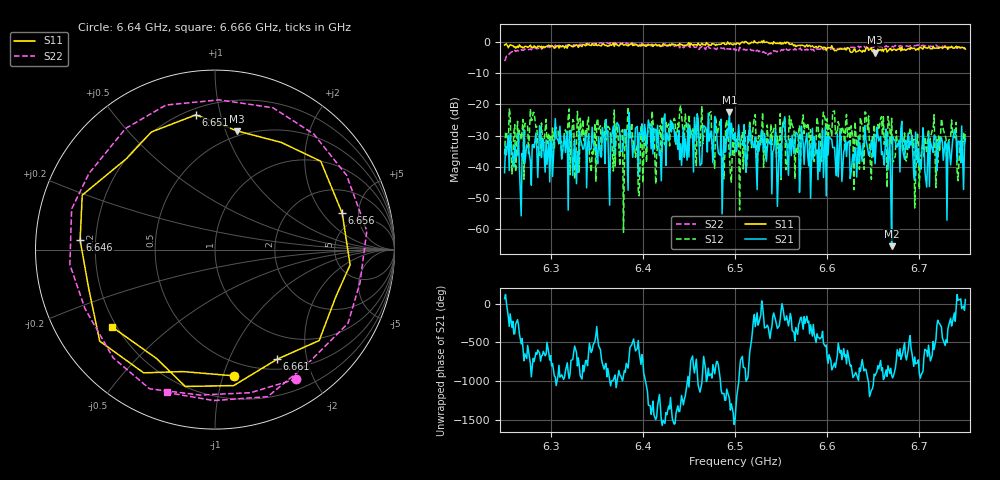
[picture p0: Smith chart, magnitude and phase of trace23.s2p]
# Hz S RI R 50
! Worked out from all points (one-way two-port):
!   401 points, 6.25 GHz to 6.75 GHz, reference 50 ohm
!   highest |S21| = -22.52 dB at 6.494 GHz (marker M1); lowest = -65.5 dB at 6.67 GHz (marker M2)
!   lowest |S11| = -3.4 dB at 6.652 GHz (marker M3), VSWR 5.11, Z = 22.7 + j54.8 ohm
!   |S11| at or under -10 dB: nowhere
!   |S22| runs from -6.1 to -0.2 dB; largest |S21 - S12| = 0.12
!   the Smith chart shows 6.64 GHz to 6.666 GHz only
!   S11 on the Smith chart (normalised r, x): 6.64 GHz: 0.38, -1.08; 6.646 GHz: 0.14, +0.03; 6.651 GHz: 0.24, +0.84; 6.656 GHz: 3.63, +3.22; 6.661 GHz: 0.63, -1.52; 6.666 GHz: 0.18, -0.32
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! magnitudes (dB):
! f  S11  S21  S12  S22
! 6.25 GHz  -1.0  -41.9  -36.1  -6.1
! 6.28 GHz  -1.6  -33.0  -25.0  -2.1
! 6.334 GHz  -1.5  -33.1  -30.3  -0.8
! 6.394 GHz  -1.0  -27.1  -32.9  -0.9
! 6.418 GHz  -0.9  -36.3  -28.2  -1.2
! 6.44 GHz  -0.4  -37.8  -21.7  -1.9
! 6.494 GHz  -0.8  -22.5  -36.2  -2.3
! 6.5 GHz  -0.6  -29.1  -34.0  -2.5
! 6.584 GHz  -1.2  -27.7  -33.8  -2.5
! 6.64 GHz  -3.0  -32.6  -40.9  -1.4
! 6.646 GHz  -2.5  -36.3  -35.2  -2.0
! 6.651 GHz  -2.4  -29.6  -26.5  -1.5
! 6.652 GHz  -3.4  -39.0  -30.0  -1.4
! 6.656 GHz  -2.6  -31.8  -28.2  -1.4
! 6.661 GHz  -3.1  -37.0  -24.0  -1.4
! 6.666 GHz  -2.9  -41.0  -23.9  -1.5
! 6.668 GHz  -2.2  -30.4  -27.6  -1.3
! 6.67 GHz  -2.8  -65.5  -24.5  -1.5
! 6.691 GHz  -1.7  -33.0  -28.2  -1.2
! 6.698 GHz  -2.2  -38.7  -29.6  -1.0
! 6.714 GHz  -2.2  -34.3  -28.3  -1.5
! 6.75 GHz  -2.3  -31.0  -28.6  -2.4
